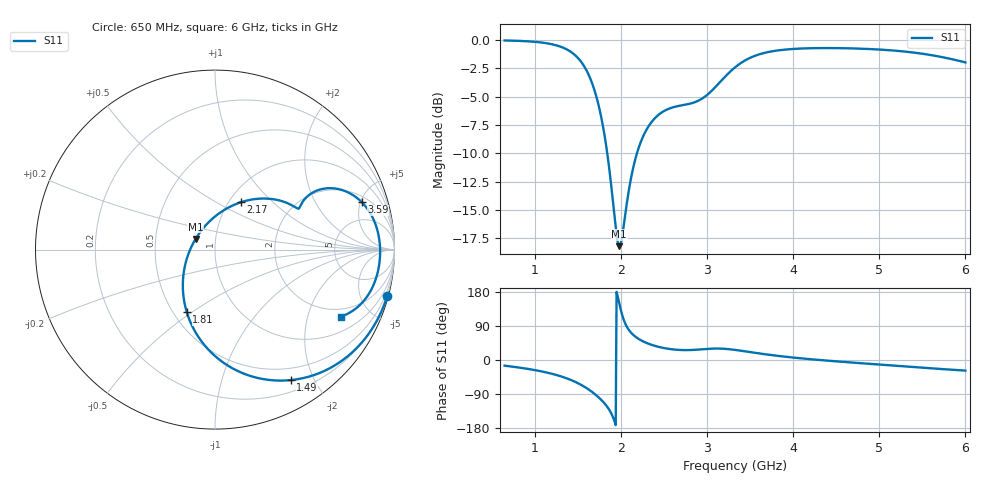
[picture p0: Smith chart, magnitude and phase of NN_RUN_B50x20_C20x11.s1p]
! IGNION VIRTUAL ANTENNA LIBRARY
! NN_RUN_B50x20_C20x11
! Virtual Antenna™ RUN mXTEND™: NN02-224 12.0 mm x 3.0 mm x 2.4 mm
! https://ignion.io/product/run-mxtend/
! Board: 50 mm x 20 mm
! Clearance Area: 20 mm x 11 mm
! Feeding line: L-shape; 11mm x 2mm and 5mm x 2mm
! Applications: Fleet management, IoT
! Frequency range 0.65GHz to 6GHz, step 10MHz
! Number of ports 1
! This product and its use is protected by at least one or more of the following patents and patent
! applications US 8,203,492 B2; US 8,237,615 B2; PCT/EP2013/064692; WO 2014/012842 A1; US 2019/190122 A1;
! US 62/072,671; and other domestic and international patents pending. Additional information about
! patents related to this product is available at https://ignion.io/files/Patent-list-NN.pdf, all
! rights reserved. Copyright, Ignion 2021.
! Need more help? Your platform is much different than these examples in the manual? Use our
! Fast Track service (https://ignion.io/fast-track/), for free, and get a personalized antenna design in
! just 24 hours.
! Touchstone port 1 = "Series Port"
! IE3D S-Parameters Output Version 2.0
# GHZ S MA R 50
! Nport = 1
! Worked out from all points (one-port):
!   536 points, 650 MHz to 6 GHz, reference 50 ohm
!   lowest |S11| = -18.2 dB at 1.98 GHz (marker M1), VSWR 1.28, Z = 40 + j4.87 ohm
!   |S11| at or under -10 dB: 1.842 GHz to 2.186 GHz (344.5 MHz wide, 17.1 % of centre)
!   S11 on the Smith chart (normalised r, x): 650 MHz: 0.18, -7.62; 1.49 GHz: 0.34, -1.69; 1.81 GHz: 0.59, -0.47; 2.17 GHz: 1.13, +0.66; 3.59 GHz: 2.54, +5.14; 6 GHz: 1.61, -3.28
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0.65  0.994 -14.9
1.05  0.9762 -28.7
1.2  0.9565 -36.4
1.32  0.9269 -44.3
1.49  0.8408 -59.9
1.57  0.7689 -69.7
1.65  0.6682 -81.7
1.72  0.5542 -94.2
1.81  0.3804 -114.5
1.89  0.2243 -141.6
1.95  0.1384 179.9
1.98  0.1234 151.0
1.99  0.124 141.0
2.02  0.1402 114.9
2.08  0.2032 83.6
2.17  0.3007 61.3
2.26  0.3769 48.9
2.36  0.4363 39.7
2.5  0.4856 31.6
2.66  0.5107 26.8
2.84  0.5284 26.6
3.03  0.5847 29.7
3.33  0.759 26.5
3.59  0.8596 17.9
4  0.9119 6.4
4.67  0.9173 -6.5
5.34  0.8845 -17.6
6  0.7956 -28.0
